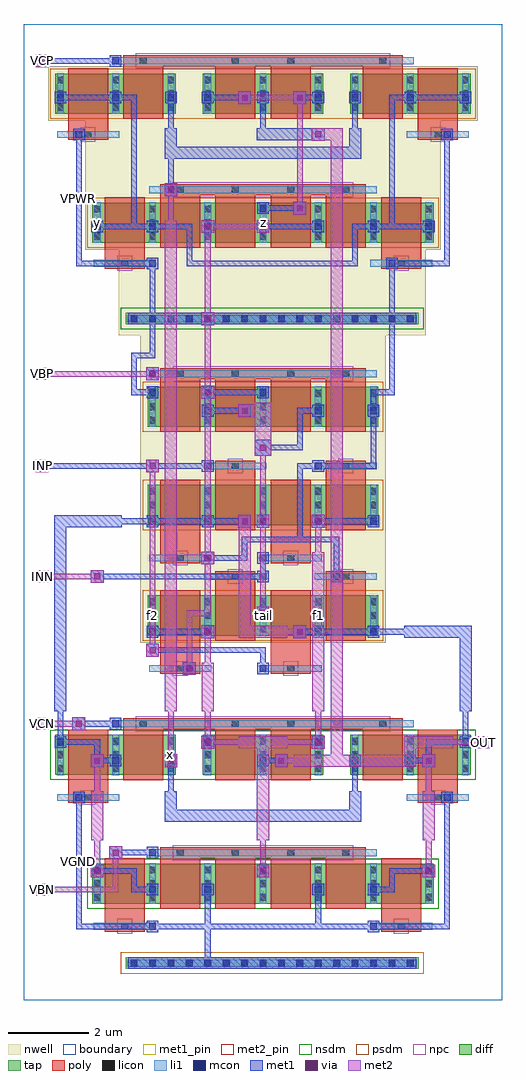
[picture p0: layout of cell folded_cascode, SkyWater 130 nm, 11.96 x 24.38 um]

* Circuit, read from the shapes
.subckt folded_cascode INN INP OUT VBN VBP VCN VCP VGND VPWR f1 f2 tail x y z
XM1 f1 VGND f1 VGND sky130_fd_pr__nfet_01v8 w=1 l=1 m=4
XM2 x VCN f1 VGND sky130_fd_pr__nfet_01v8 w=1 l=1 m=2
XM3 VGND VBN f1 VGND sky130_fd_pr__nfet_01v8 w=1 l=1 m=2
XM4 f2 VBN VGND VGND sky130_fd_pr__nfet_01v8 w=1 l=1 m=2
XM5 OUT VCN f2 VGND sky130_fd_pr__nfet_01v8 w=1 l=1 m=2
XM6 y VPWR y VPWR sky130_fd_pr__pfet_01v8 w=1 l=1 m=4
XM7 x VCP y VPWR sky130_fd_pr__pfet_01v8 w=1 l=1 m=2
XM8 f2 VPWR f2 VPWR sky130_fd_pr__pfet_01v8 w=1 l=1 m=2
XM9 f1 VPWR f1 VPWR sky130_fd_pr__pfet_01v8 w=1 l=1 m=2
XM10 tail VBP VPWR VPWR sky130_fd_pr__pfet_01v8 w=1 l=1 m=4
XM11 VPWR x y VPWR sky130_fd_pr__pfet_01v8 w=1 l=1 m=2
XM12 tail INN f2 VPWR sky130_fd_pr__pfet_01v8 w=1 l=1 m=2
XM13 tail INP f1 VPWR sky130_fd_pr__pfet_01v8 w=1 l=1 m=2
XM14 z x VPWR VPWR sky130_fd_pr__pfet_01v8 w=1 l=1 m=2
XM15 OUT VCP z VPWR sky130_fd_pr__pfet_01v8 w=1 l=1 m=2
.ends

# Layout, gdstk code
import gdstk
lib = gdstk.Library(unit=1e-6, precision=1e-09)
def R(c, l, rs):  # rectangles x0, y0, x1, y1
    for r in rs: c.add(gdstk.rectangle(r[:2], r[2:], *l))
def A(c, l, x, y, w, h, nx, ny, dx, dy):  # array of equal rectangles
    R(c, l, [(x+i*dx, y+j*dy, x+i*dx+w, y+j*dy+h) for i in range(nx) for j in range(ny)])
nwell = (64, 20)
diff = (65, 20)
tap = (65, 44)
poly = (66, 20)
licon = (66, 44)
li1 = (67, 20)
mcon = (67, 44)
met1_pin = (68, 16)
met1 = (68, 20)
via = (68, 44)
met2_pin = (69, 16)
met2 = (69, 20)
nsdm = (93, 44)
psdm = (94, 20)
npc = (95, 20)
boundary = (235, 4)

folded_cascode = lib.new_cell('folded_cascode')
R(folded_cascode, nwell, [(2.915,8.925,9.045,16.6), (2.375,16.6,10.045,18.74), (1.535,18.74,10.425,21.96), (0.615,21.96,11.345,23.32)])
A(folded_cascode, diff, 0.795, 5.625, 3.01, 1, 3, 2, 3.68, 16.515)
R(folded_cascode, diff, [(1.715,2.405,10.245,3.405), (3.095,9.105,8.865,10.105), (3.095,11.865,8.865,12.865), (3.095,14.32,8.865,15.32), (1.715,18.92,10.245,19.92)])
R(folded_cascode, tap, [(2.555,0.775,9.865,1.065), (2.555,16.875,9.865,17.165)])
A(folded_cascode, poly, 3.41, 2.275, 1, 1.405, 4, 1, 1.38, 0)
A(folded_cascode, poly, 3.41, 14.19, 1, 1.45, 4, 2, 1.38, 4.6)
R(folded_cascode, poly, [(2.03,1.705,3.03,1.975), (8.93,1.705,9.93,1.975), (2.03,1.84,3.03,3.535), (8.93,1.84,9.93,3.535), (3.41,3.545,8.55,3.815), (1.11,4.925,2.11,5.195), (9.85,4.925,10.85,5.195), (1.11,5.06,2.11,6.755), (9.85,5.06,10.85,6.755), (2.49,5.495,3.49,6.9), (4.79,5.495,5.79,6.9), (6.17,5.495,7.17,6.9), (8.47,5.495,9.47,6.9), (2.49,6.765,9.47,7.035), (3.41,8.145,4.41,8.415), (6.17,8.145,7.17,8.415), (3.41,8.28,4.41,10.235), (6.17,8.28,7.17,10.235), (4.79,8.975,5.79,10.58), (7.55,8.975,8.55,10.58), (4.79,10.445,5.79,10.715), (7.55,10.445,8.55,10.715), (3.41,10.905,4.41,11.175), (6.17,10.905,7.17,11.175), (3.41,11.04,4.41,12.995), (6.17,11.04,7.17,12.995), (4.79,11.735,5.79,13.34), (7.55,11.735,8.55,13.34), (4.79,13.205,5.79,13.475), (7.55,13.205,8.55,13.475), (3.41,15.505,8.55,15.775), (2.03,18.265,3.03,18.535), (8.93,18.265,9.93,18.535), (2.03,18.4,3.03,20.05), (8.93,18.4,9.93,20.05), (3.41,20.105,8.55,20.375), (1.11,21.485,2.11,21.755), (9.85,21.485,10.85,21.755), (1.11,21.62,2.11,23.27), (9.85,21.62,10.85,23.27), (2.49,22.01,3.49,23.46), (4.79,22.01,5.79,23.46), (6.17,22.01,7.17,23.46), (8.47,22.01,9.47,23.46), (2.49,23.325,9.47,23.595)])
A(folded_cascode, licon, 2.675, 0.835, 0.17, 0.17, 16, 2, 0.46, 16.1)
A(folded_cascode, licon, 1.755, 2.48, 0.17, 0.17, 7, 3, 1.38, 0.34)
A(folded_cascode, licon, 3.825, 3.595, 0.17, 0.17, 4, 2, 1.38, 11.96)
A(folded_cascode, licon, 0.835, 5.7, 0.17, 0.17, 3, 3, 1.38, 0.34)
A(folded_cascode, licon, 4.515, 5.7, 0.17, 0.17, 3, 3, 1.38, 0.34)
A(folded_cascode, licon, 8.195, 5.7, 0.17, 0.17, 3, 3, 1.38, 0.34)
A(folded_cascode, licon, 3.135, 9.18, 0.17, 0.17, 5, 3, 1.38, 0.34)
A(folded_cascode, licon, 3.135, 11.94, 0.17, 0.17, 5, 3, 1.38, 0.34)
A(folded_cascode, licon, 3.135, 14.395, 0.17, 0.17, 5, 3, 1.38, 0.34)
A(folded_cascode, licon, 1.755, 18.995, 0.17, 0.17, 7, 3, 1.38, 0.34)
A(folded_cascode, licon, 3.825, 20.155, 0.17, 0.17, 4, 1, 1.38, 0)
A(folded_cascode, licon, 0.835, 22.215, 0.17, 0.17, 3, 3, 1.38, 0.34)
A(folded_cascode, licon, 4.515, 22.215, 0.17, 0.17, 3, 3, 1.38, 0.34)
A(folded_cascode, licon, 8.195, 22.215, 0.17, 0.17, 3, 3, 1.38, 0.34)
R(folded_cascode, licon, [(2.445,1.755,2.615,1.925), (9.345,1.755,9.515,1.925), (1.525,4.975,1.695,5.145), (10.265,4.975,10.435,5.145), (2.905,6.815,3.075,6.985), (5.205,6.815,5.375,6.985), (6.585,6.815,6.755,6.985), (8.885,6.815,9.055,6.985), (3.825,8.195,3.995,8.365), (6.585,8.195,6.755,8.365), (5.205,10.495,5.375,10.665), (7.965,10.495,8.135,10.665), (3.825,10.955,3.995,11.125), (6.585,10.955,6.755,11.125), (5.205,13.255,5.375,13.425), (7.965,13.255,8.135,13.425), (2.445,18.315,2.615,18.485), (9.345,18.315,9.515,18.485), (1.525,21.535,1.695,21.705), (10.265,21.535,10.435,21.705), (2.905,23.375,3.075,23.545), (5.205,23.375,5.375,23.545), (6.585,23.375,6.755,23.545), (8.885,23.375,9.055,23.545)])
A(folded_cascode, li1, 1.755, 2.4, 0.17, 1.01, 7, 2, 1.38, 16.515)
A(folded_cascode, li1, 0.835, 5.62, 0.17, 1.01, 3, 2, 1.38, 16.515)
A(folded_cascode, li1, 4.515, 5.62, 0.17, 1.01, 3, 2, 1.38, 16.515)
A(folded_cascode, li1, 8.195, 5.62, 0.17, 1.01, 3, 2, 1.38, 16.515)
A(folded_cascode, li1, 3.135, 9.1, 0.17, 1.01, 5, 2, 1.38, 2.76)
A(folded_cascode, li1, 3.135, 14.315, 0.17, 1.01, 5, 1, 1.38, 0)
R(folded_cascode, li1, [(2.595,0.835,9.825,1.005), (1.755,1.755,3.305,1.925), (8.655,1.755,10.205,1.925), (3.135,3.595,8.825,3.765), (0.835,4.975,2.385,5.145), (9.575,4.975,11.125,5.145), (2.215,6.815,9.745,6.985), (3.135,8.195,4.685,8.365), (5.895,8.195,7.445,8.365), (4.515,10.495,6.065,10.665), (7.275,10.495,8.825,10.665), (3.135,10.955,4.685,11.125), (5.895,10.955,7.445,11.125), (4.515,13.255,6.065,13.425), (7.275,13.255,8.825,13.425), (3.135,15.555,8.825,15.725), (2.595,16.935,9.825,17.105), (1.755,18.315,3.305,18.485), (8.655,18.315,10.205,18.485), (3.135,20.155,8.825,20.325), (0.835,21.535,2.385,21.705), (9.575,21.535,11.125,21.705), (2.215,23.375,9.745,23.545)])
A(folded_cascode, mcon, 2.675, 0.835, 0.17, 0.17, 16, 2, 0.46, 16.1)
A(folded_cascode, mcon, 3.135, 1.755, 0.17, 0.17, 1, 3, 0, 0.92)
A(folded_cascode, mcon, 1.755, 3.135, 0.17, 0.17, 3, 1, 4.14, 0)
A(folded_cascode, mcon, 3.595, 5.895, 0.17, 0.17, 3, 1, 2.3, 0)
A(folded_cascode, mcon, 3.135, 11.875, 0.17, 0.17, 5, 1, 1.38, 0)
A(folded_cascode, mcon, 1.755, 19.235, 0.17, 0.17, 3, 1, 1.38, 0)
A(folded_cascode, mcon, 7.275, 19.235, 0.17, 0.17, 3, 1, 1.38, 0)
A(folded_cascode, mcon, 0.835, 22.455, 0.17, 0.17, 3, 1, 1.38, 0)
A(folded_cascode, mcon, 4.515, 22.455, 0.17, 0.17, 3, 1, 1.38, 0)
A(folded_cascode, mcon, 8.195, 22.455, 0.17, 0.17, 3, 1, 1.38, 0)
R(folded_cascode, mcon, [(8.655,1.755,8.825,1.925), (4.515,2.675,4.685,2.845), (7.275,2.675,7.445,2.845), (8.655,2.675,8.825,2.845), (1.295,4.975,1.465,5.145), (10.495,4.975,10.665,5.145), (2.215,5.895,2.385,6.065), (9.575,5.895,9.745,6.065), (0.835,6.355,1.005,6.525), (4.515,6.355,4.685,6.525), (7.275,6.355,7.445,6.525), (10.955,6.355,11.125,6.525), (2.215,6.815,2.385,6.985), (4.055,8.195,4.225,8.365), (5.895,8.195,6.065,8.365), (3.135,9.115,3.305,9.285), (4.515,9.115,4.685,9.285), (7.275,9.115,7.445,9.285), (8.655,9.115,8.825,9.285), (5.895,9.575,6.065,9.745), (5.895,10.495,6.065,10.665), (7.735,10.495,7.905,10.665), (4.515,10.955,4.685,11.125), (5.895,10.955,6.065,11.125), (4.515,13.255,4.685,13.425), (7.275,13.255,7.445,13.425), (4.515,14.635,4.685,14.805), (7.275,14.635,7.445,14.805), (8.655,14.635,8.825,14.805), (3.135,15.095,3.305,15.265), (5.895,15.095,6.065,15.265), (3.135,15.555,3.305,15.725), (3.135,18.315,3.305,18.485), (9.115,18.315,9.285,18.485), (5.895,19.695,6.065,19.865), (3.595,20.155,3.765,20.325), (1.295,21.535,1.465,21.705), (10.495,21.535,10.665,21.705), (2.215,23.375,2.385,23.545)])
R(folded_cascode, met1_pin, [(1.31,1.77,1.45,5.13), (1.31,18.33,1.45,21.69)])
A(folded_cascode, met1, 3.075, 1.695, 0.29, 0.29, 1, 3, 0, 0.92)
A(folded_cascode, met1, 1.68, 3.06, 0.32, 0.32, 3, 1, 4.14, 0)
A(folded_cascode, met1, 1.695, 3.075, 0.29, 0.29, 3, 1, 4.14, 0)
A(folded_cascode, met1, 3.535, 5.835, 0.29, 0.29, 3, 1, 2.3, 0)
A(folded_cascode, met1, 3.075, 11.815, 0.29, 0.29, 5, 1, 1.38, 0)
A(folded_cascode, met1, 1.695, 19.175, 0.29, 0.29, 3, 1, 1.38, 0)
A(folded_cascode, met1, 7.215, 19.175, 0.29, 0.29, 3, 1, 1.38, 0)
A(folded_cascode, met1, 3.61, 21.55, 0.14, 1.06, 3, 1, 2.3, 0)
A(folded_cascode, met1, 0.775, 22.395, 0.29, 0.29, 3, 1, 1.38, 0)
A(folded_cascode, met1, 4.455, 22.395, 0.29, 0.29, 3, 1, 1.38, 0)
A(folded_cascode, met1, 8.135, 22.395, 0.29, 0.29, 3, 1, 1.38, 0)
R(folded_cascode, met1, [(2.615,0.775,9.805,1.065), (4.53,0.85,4.67,2.83), (4.53,0.85,4.67,0.99), (8.595,1.695,8.885,1.985), (1.31,1.77,1.45,5.13), (1.31,1.77,3.29,1.91), (3.15,1.77,4.67,1.91), (4.53,1.77,7.43,1.91), (7.29,1.77,8.81,1.91), (7.29,1.77,7.43,2.83), (8.67,1.77,10.65,1.91), (10.51,1.77,10.65,5.13), (4.455,2.615,4.745,2.905), (7.215,2.615,7.505,2.905), (8.595,2.615,8.885,2.905), (2.69,2.69,3.29,2.83), (2.69,2.69,2.83,3.29), (8.67,2.69,9.27,2.83), (9.13,2.69,9.27,3.29), (1.77,3.15,2.83,3.29), (9.13,3.15,10.19,3.29), (2.14,3.52,2.46,3.84), (2.23,3.61,3.29,3.75), (3.53,4.45,8.43,4.75), (3.53,4.45,3.83,5.21), (8.13,4.45,8.43,5.21), (1.235,4.915,1.525,5.205), (10.435,4.915,10.725,5.205), (3.61,4.99,3.75,6.05), (8.21,4.99,8.35,6.05), (1.68,5.82,2,6.14), (3.52,5.82,3.84,6.14), (6.28,5.82,6.6,6.14), (9.96,5.82,10.28,6.14), (2.155,5.835,2.445,6.125), (9.515,5.835,9.805,6.125), (1.77,5.91,2.37,6.05), (1.77,5.91,1.91,6.51), (5.91,5.91,6.51,6.05), (9.59,5.91,10.19,6.05), (10.05,5.91,10.19,6.51), (4.44,6.28,4.76,6.6), (7.2,6.28,7.52,6.6), (0.775,6.295,1.065,6.585), (4.455,6.295,4.745,6.585), (7.215,6.295,7.505,6.585), (10.895,6.295,11.185,6.585), (0.85,6.37,0.99,7.43), (0.85,6.37,1.91,6.51), (10.05,6.37,11.11,6.51), (10.97,6.37,11.11,7.43), (1.22,6.74,1.54,7.06), (2.155,6.755,2.445,7.045), (1.31,6.83,2.37,6.97), (0.77,7.21,1.07,12.11), (10.89,7.21,11.19,9.35), (3.98,8.12,4.3,8.44), (3.995,8.135,4.285,8.425), (5.835,8.135,6.125,8.425), (5.91,8.21,6.05,8.81), (3.06,8.58,3.38,8.9), (3.15,8.67,6.05,8.81), (4.44,9.04,4.76,9.36), (6.74,9.04,7.06,9.36), (9.51,9.05,11.19,9.35), (3.075,9.055,3.365,9.345), (4.455,9.055,4.745,9.345), (7.215,9.055,7.505,9.345), (8.595,9.055,8.885,9.345), (3.15,9.13,4.67,9.27), (6.83,9.13,7.43,9.27), (7.29,9.13,8.81,9.27), (8.67,9.13,9.73,9.27), (5.82,9.5,6.14,9.82), (5.835,9.515,6.125,9.805), (1.68,10.42,2,10.74), (5.835,10.435,6.125,10.725), (7.675,10.435,7.965,10.725), (1.77,10.51,6.05,10.65), (5.91,10.51,6.05,11.11), (7.75,10.51,7.89,11.57), (4.44,10.88,4.76,11.2), (4.455,10.895,4.745,11.185), (5.835,10.895,6.125,11.185), (4.53,10.97,5.59,11.11), (5.45,10.97,5.59,11.57), (5.45,11.43,7.89,11.57), (6.83,11.43,6.97,13.41), (5.36,11.8,5.68,12.12), (5.82,11.8,6.14,12.12), (7.2,11.8,7.52,12.12), (0.77,11.81,2.45,12.11), (2.23,11.89,3.29,12.03), (3.15,11.89,4.67,12.03), (4.53,11.89,5.59,12.03), (7.29,11.89,8.81,12.03), (0.3,13.18,0.62,13.5), (3.06,13.18,3.38,13.5), (4.455,13.195,4.745,13.485), (7.215,13.195,7.505,13.485), (0.39,13.27,4.67,13.41), (6.83,13.27,7.43,13.41), (7.29,13.27,8.81,13.41), (8.67,13.27,8.81,14.79), (5.78,13.6,6.18,14), (5.91,13.73,6.97,13.87), (6.83,13.73,6.97,14.79), (5.36,14.56,5.68,14.88), (4.455,14.575,4.745,14.865), (7.215,14.575,7.505,14.865), (8.595,14.575,8.885,14.865), (4.53,14.65,5.59,14.79), (6.83,14.65,7.43,14.79), (8.67,14.65,8.81,15.25), (4.44,15.02,4.76,15.34), (3.075,15.035,3.365,15.325), (5.835,15.035,6.125,15.325), (2.69,15.11,2.83,16.17), (2.69,15.11,3.29,15.25), (4.53,15.11,6.05,15.25), (8.67,15.11,9.27,15.25), (9.13,15.11,9.27,18.47), (3.06,15.48,3.38,15.8), (3.075,15.495,3.365,15.785), (2.69,16.03,3.29,16.17), (3.15,16.03,3.29,17.09), (4.44,16.86,4.76,17.18), (2.615,16.875,9.805,17.165), (3.15,16.95,4.67,17.09), (3.15,16.95,3.29,18.47), (4.53,16.95,4.67,17.09), (3.075,18.255,3.365,18.545), (9.055,18.255,9.345,18.545), (1.31,18.33,1.45,21.69), (1.31,18.33,3.29,18.47), (4.07,18.33,8.35,18.47), (4.07,18.33,4.21,19.39), (8.21,18.33,8.35,19.39), (9.13,18.33,10.65,18.47), (10.51,18.33,10.65,21.69), (4.44,19.16,4.76,19.48), (5.82,19.16,6.14,19.48), (1.77,19.25,3.29,19.39), (2.69,19.25,2.83,22.61), (3.15,19.25,4.21,19.39), (5.91,19.25,7.43,19.39), (8.21,19.25,8.81,19.39), (8.67,19.25,10.19,19.39), (9.13,19.25,9.27,22.61), (6.74,19.62,7.06,19.94), (5.835,19.635,6.125,19.925), (5.91,19.71,6.97,19.85), (3.52,20.08,3.84,20.4), (3.535,20.095,3.825,20.385), (3.61,20.17,3.75,21.23), (3.53,21.01,8.43,21.31), (3.53,21.01,3.83,21.77), (8.13,21.01,8.43,21.77), (7.2,21.46,7.52,21.78), (5.83,21.47,7.51,21.77), (1.235,21.475,1.525,21.765), (10.435,21.475,10.725,21.765), (5.36,22.38,5.68,22.7), (6.74,22.38,7.06,22.7), (0.85,22.47,2.37,22.61), (2.23,22.47,2.83,22.61), (4.53,22.47,5.59,22.61), (6.83,22.47,7.43,22.61), (9.13,22.47,9.73,22.61), (9.59,22.47,11.11,22.61), (0.3,23.3,0.62,23.62), (2.155,23.315,2.445,23.605), (0.39,23.39,2.37,23.53)])
A(folded_cascode, via, 1.765, 3.145, 0.15, 0.15, 3, 1, 4.14, 0)
R(folded_cascode, via, [(2.225,3.605,2.375,3.755), (1.765,5.905,1.915,6.055), (3.605,5.905,3.755,6.055), (6.365,5.905,6.515,6.055), (10.045,5.905,10.195,6.055), (4.525,6.365,4.675,6.515), (7.285,6.365,7.435,6.515), (1.305,6.825,1.455,6.975), (4.065,8.205,4.215,8.355), (3.145,8.665,3.295,8.815), (4.525,9.125,4.675,9.275), (6.825,9.125,6.975,9.275), (5.905,9.585,6.055,9.735), (1.765,10.505,1.915,10.655), (4.525,10.965,4.675,11.115), (5.445,11.885,5.595,12.035), (5.905,11.885,6.055,12.035), (7.285,11.885,7.435,12.035), (0.385,13.265,0.535,13.415), (3.145,13.265,3.295,13.415), (5.905,13.725,6.055,13.875), (5.445,14.645,5.595,14.795), (4.525,15.105,4.675,15.255), (3.145,15.565,3.295,15.715), (4.525,16.945,4.675,17.095), (4.525,19.245,4.675,19.395), (5.905,19.245,6.055,19.395), (6.825,19.705,6.975,19.855), (3.605,20.165,3.755,20.315), (7.285,21.545,7.435,21.695), (5.445,22.465,5.595,22.615), (6.825,22.465,6.975,22.615), (0.385,23.385,0.535,23.535)])
R(folded_cascode, met2_pin, [(0.31,2.61,0.61,2.91), (11.35,6.29,11.65,6.59), (0.31,6.75,0.61,7.05), (0.31,10.43,0.61,10.73), (0.31,13.19,0.61,13.49), (0.31,15.49,0.61,15.79), (0.31,23.31,0.61,23.61)])
A(folded_cascode, met2, 1.68, 3.06, 0.32, 0.32, 3, 1, 4.14, 0)
A(folded_cascode, met2, 1.77, 3.15, 0.14, 1.06, 3, 1, 4.14, 0)
R(folded_cascode, met2, [(0.31,2.61,0.61,2.91), (0.39,2.69,0.53,2.83), (0.39,2.69,2.37,2.83), (2.23,2.69,2.37,3.75), (2.14,3.52,2.46,3.84), (1.69,3.99,1.99,5.21), (5.83,3.99,6.13,6.59), (9.97,3.99,10.27,5.21), (1.77,4.99,1.91,6.05), (10.05,4.99,10.19,6.05), (1.68,5.82,2,6.14), (3.52,5.82,3.84,6.14), (6.28,5.82,6.6,6.14), (9.96,5.82,10.28,6.14), (6.75,5.83,9.81,6.13), (7.67,5.83,7.97,21.77), (9.51,5.83,9.81,6.59), (3.61,5.91,3.75,7.43), (6.37,5.91,6.97,6.05), (4.44,6.28,4.76,6.6), (7.2,6.28,7.52,6.6), (5.37,6.29,6.59,6.59), (9.51,6.29,10.73,6.59), (11.35,6.29,11.65,6.59), (4.53,6.37,4.67,7.43), (4.53,6.37,5.59,6.51), (6.37,6.37,7.43,6.51), (7.29,6.37,7.43,7.43), (10.51,6.37,11.57,6.51), (11.43,6.37,11.57,6.51), (1.22,6.74,1.54,7.06), (0.31,6.75,0.61,7.05), (0.39,6.83,1.45,6.97), (0.39,6.83,0.53,6.97), (3.53,7.21,3.83,19.47), (4.45,7.21,4.75,8.43), (7.21,7.21,7.51,11.19), (3.98,8.12,4.3,8.44), (4.07,8.21,4.21,9.73), (4.53,8.21,4.67,9.27), (3.06,8.58,3.38,8.9), (3.15,8.67,3.29,13.41), (4.44,9.04,4.76,9.36), (6.74,9.04,7.06,9.36), (5.37,9.05,6.59,9.35), (5.37,9.05,5.67,12.11), (6.37,9.13,6.97,9.27), (5.82,9.5,6.14,9.82), (4.07,9.59,4.67,9.73), (4.53,9.59,4.67,11.11), (5.91,9.59,6.05,12.03), (1.68,10.42,2,10.74), (0.31,10.43,0.61,10.73), (0.39,10.51,0.53,10.65), (0.39,10.51,1.91,10.65), (4.44,10.88,4.76,11.2), (4.53,10.97,4.67,15.25), (7.29,10.97,7.43,12.03), (5.36,11.8,5.68,12.12), (5.82,11.8,6.14,12.12), (7.2,11.8,7.52,12.12), (5.91,11.89,6.05,13.87), (0.3,13.18,0.62,13.5), (3.06,13.18,3.38,13.5), (0.31,13.19,0.61,13.49), (0.39,13.27,0.53,13.41), (5.78,13.6,6.18,14), (5.78,13.6,6.18,14.92), (5.36,14.56,5.68,14.88), (5.68,14.56,5.78,14.88), (5.45,14.65,6.05,14.79), (4.44,15.02,4.76,15.34), (4.53,15.11,4.67,17.09), (3.06,15.48,3.38,15.8), (0.31,15.49,0.61,15.79), (0.39,15.57,0.53,15.71), (0.39,15.57,3.29,15.71), (4.44,16.86,4.76,17.18), (4.53,16.95,4.67,19.39), (4.44,19.16,4.76,19.48), (5.82,19.16,6.14,19.48), (3.61,19.25,3.75,20.31), (4.53,19.25,6.05,19.39), (6.74,19.62,7.06,19.94), (6.83,19.71,6.97,22.61), (3.52,20.08,3.84,20.4), (7.2,21.46,7.52,21.78), (7.21,21.47,7.97,21.77), (5.36,22.38,5.68,22.7), (6.74,22.38,7.06,22.7), (5.45,22.47,6.97,22.61), (0.3,23.3,0.62,23.62), (0.31,23.31,0.61,23.61), (0.39,23.39,0.53,23.53)])
R(folded_cascode, nsdm, [(1.59,2.28,10.37,3.53), (0.67,5.5,11.29,6.75), (2.43,16.75,9.99,17.29)])
R(folded_cascode, psdm, [(2.43,0.65,9.99,1.19), (2.97,8.98,8.99,10.23), (2.97,11.74,8.99,12.99), (2.97,14.195,8.99,15.445), (1.59,18.795,10.37,20.045), (0.67,22.015,11.29,23.265)])
R(folded_cascode, npc, [(2.345,1.655,2.715,2.025), (9.245,1.655,9.615,2.025), (3.725,3.495,8.235,3.865), (1.425,4.875,1.795,5.245), (10.165,4.875,10.535,5.245), (2.805,6.715,9.155,7.085), (3.725,8.095,4.095,8.465), (6.485,8.095,6.855,8.465), (5.105,10.395,5.475,10.765), (7.865,10.395,8.235,10.765), (3.725,10.855,4.095,11.225), (6.485,10.855,6.855,11.225), (5.105,13.155,5.475,13.525), (7.865,13.155,8.235,13.525), (3.725,15.455,8.235,15.825), (2.345,18.215,2.715,18.585), (9.245,18.215,9.615,18.585), (3.725,20.055,8.235,20.425), (1.425,21.435,1.795,21.805), (10.165,21.435,10.535,21.805), (2.805,23.275,9.155,23.645)])
R(folded_cascode, boundary, [(0,0,11.96,24.38)])
folded_cascode.add(gdstk.Label('f2', (3.22,9.605), layer=67, texttype=5))
folded_cascode.add(gdstk.Label('tail', (5.98,9.605), layer=67, texttype=5))
folded_cascode.add(gdstk.Label('f1', (7.36,9.605), layer=67, texttype=5))
folded_cascode.add(gdstk.Label('x', (3.68,6.125), layer=67, texttype=5))
folded_cascode.add(gdstk.Label('y', (1.84,19.42), layer=67, texttype=5))
folded_cascode.add(gdstk.Label('z', (5.98,19.42), layer=67, texttype=5))
folded_cascode.add(gdstk.Label('VPWR', (1.38,20.01), layer=68, texttype=5))
folded_cascode.add(gdstk.Label('VGND', (1.38,3.45), layer=68, texttype=5))
folded_cascode.add(gdstk.Label('INP', (0.46,13.34), layer=69, texttype=5))
folded_cascode.add(gdstk.Label('INN', (0.46,10.58), layer=69, texttype=5))
folded_cascode.add(gdstk.Label('VBP', (0.46,15.64), layer=69, texttype=5))
folded_cascode.add(gdstk.Label('VBN', (0.46,2.76), layer=69, texttype=5))
folded_cascode.add(gdstk.Label('VCN', (0.46,6.9), layer=69, texttype=5))
folded_cascode.add(gdstk.Label('VCP', (0.46,23.46), layer=69, texttype=5))
folded_cascode.add(gdstk.Label('OUT', (11.5,6.44), layer=69, texttype=5))
folded_cascode.add(gdstk.Label('VPWR', (1.38,20.01), layer=68, texttype=16))
folded_cascode.add(gdstk.Label('VGND', (1.38,3.45), layer=68, texttype=16))
folded_cascode.add(gdstk.Label('INP', (0.46,13.34), layer=69, texttype=16))
folded_cascode.add(gdstk.Label('INN', (0.46,10.58), layer=69, texttype=16))
folded_cascode.add(gdstk.Label('VBP', (0.46,15.64), layer=69, texttype=16))
folded_cascode.add(gdstk.Label('VBN', (0.46,2.76), layer=69, texttype=16))
folded_cascode.add(gdstk.Label('VCN', (0.46,6.9), layer=69, texttype=16))
folded_cascode.add(gdstk.Label('VCP', (0.46,23.46), layer=69, texttype=16))
folded_cascode.add(gdstk.Label('OUT', (11.5,6.44), layer=69, texttype=16))

lib.write_gds('folded_cascode.gds')
